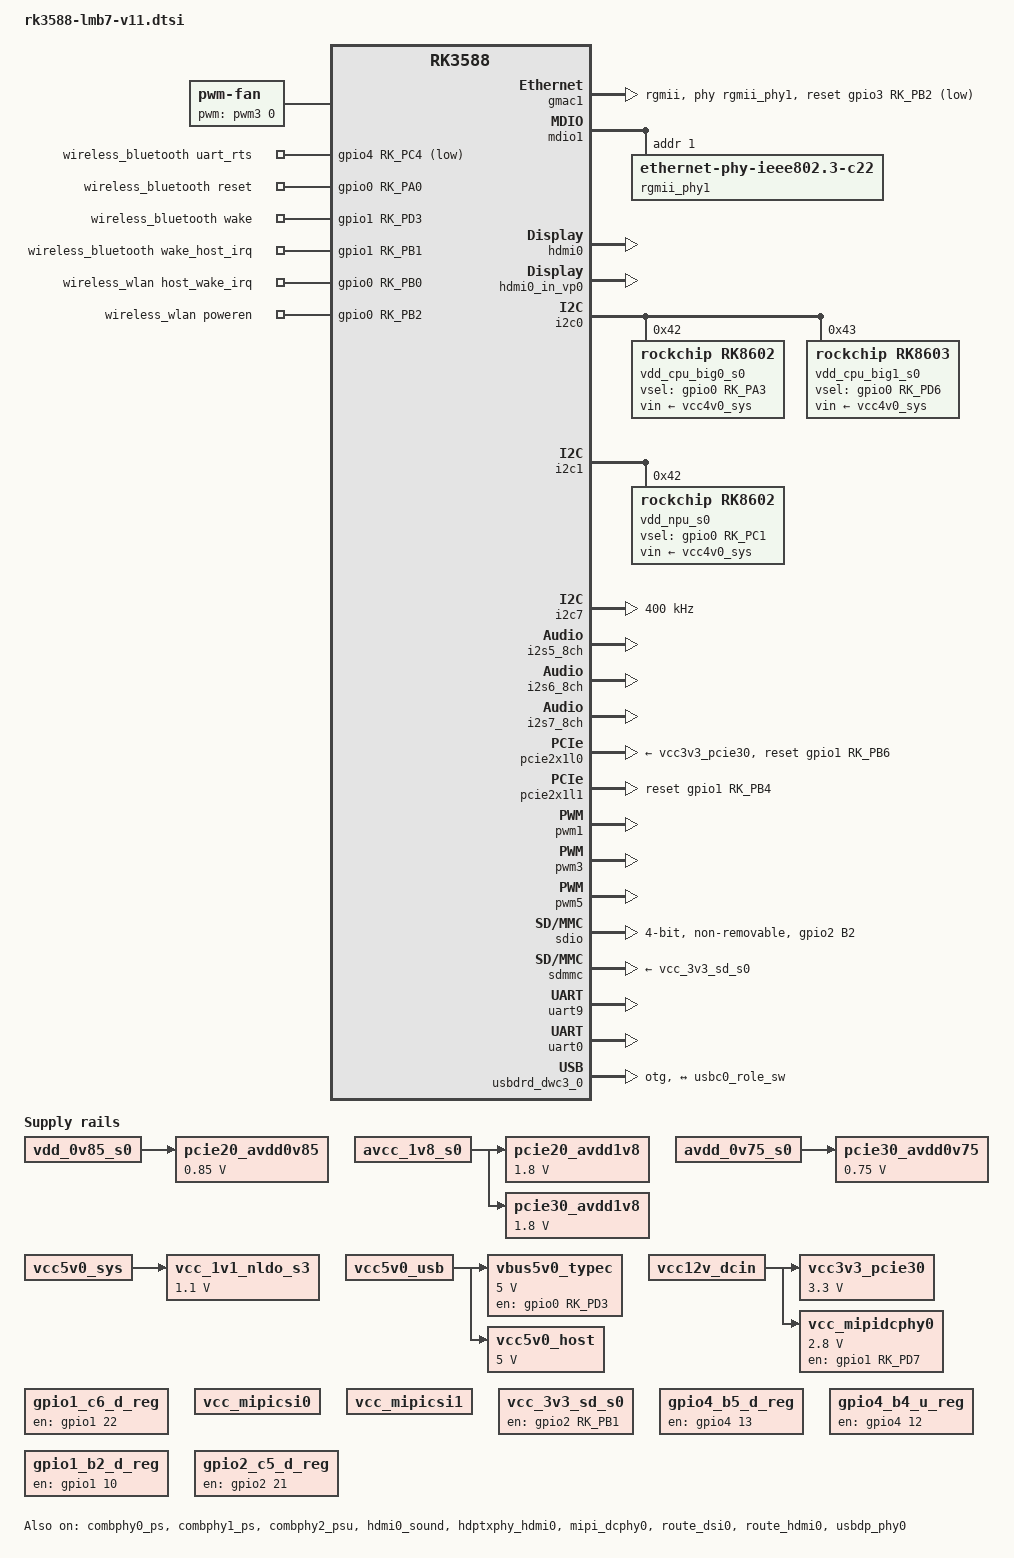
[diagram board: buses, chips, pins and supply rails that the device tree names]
// SPDX-License-Identifier: (GPL-2.0+ OR MIT)
/*
 * Copyright (c) 2022 Rockchip Electronics Co., Ltd.
 *
 */

#include "dt-bindings/usb/pd.h"
#include "rk3588.dtsi"
#include "rk3588-lmb.dtsi"
#include "rk3588-rk806-single.dtsi"

/ {
	/* If hdmirx node is disabled, delete the reserved-memory node here. */
	reserved-memory {
		#address-cells = <2>;
		#size-cells = <2>;
		ranges;

		/* Reserve 256MB memory for hdmirx-controller@fdee0000 */
		cma {
			compatible = "shared-dma-pool";
			reusable;
			reg = <0x0 (256 * 0x100000) 0x0 (256 * 0x100000)>;
			linux,cma-default;
		};
	};

	gpio4_b5_d_out: gpio4-b5-d-out {
        rockchip,pins = <4 13 RK_FUNC_GPIO &pcfg_pull_none>;
    };
    gpio4_b4_u_out: gpio4-b4-u-out {
        rockchip,pins = <4 12 RK_FUNC_GPIO &pcfg_pull_none>;
    };
    gpio1_b2_d_out: gpio1-b2-d-out {
        rockchip,pins = <1 10 RK_FUNC_GPIO &pcfg_pull_none>;
    };
    gpio2_c5_d_out: gpio2-c5-d-out {
        rockchip,pins = <2 21 RK_FUNC_GPIO &pcfg_pull_none>;
    };

//	vcc8367_reset: vcc8367-reset {
//		status = "okay";
//		compatible = "regulator-fixed";
//		regulator-name = "vcc8367_reset";
//		regulator-boot-on;
//		regulator-always-on;
//		regulator-min-microvolt = <3300000>;
//		regulator-max-microvolt = <3300000>;
//		enable-active-high;
//		// gpio = <&gpio4 RK_PD1 GPIO_ACTIVE_HIGH>;
//		gpio = <&gpio4 RK_PA3 GPIO_ACTIVE_HIGH>;
//		vin-supply = <&vcc12v_dcin>;
//		pinctrl-names = "default";
//		pinctrl-0 = <&vcc8367n_reset_en>;
//		regulator-state-mem {
//			regulator-off-in-suspend;
//		};
//	};	

//	gpio2_b2_u_reg: gpio2-b2-u-regulator {
//        compatible = "regulator-fixed";
//        regulator-name = "gpio2_b2_u_3v3";
//        regulator-boot-on;
//        regulator-always-on;
//        enable-active-high;
//        gpio = <&gpio2 10 GPIO_ACTIVE_HIGH>;
//        pinctrl-names = "default";
//        pinctrl-0 = <&gpio2_b2_u_out>;
//    };

	gpio1_c6_d_reg: gpio1-c6-d-regulator {
		compatible = "regulator-fixed";
		regulator-name = "gpio1_c6_d";
		regulator-boot-on;
		regulator-always-on;
		enable-active-high;
		gpio = <&gpio1 22 GPIO_ACTIVE_HIGH>;
		pinctrl-names = "default";
		pinctrl-0 = <&gpio1_c6_d_out>;
	};
/*
	es8388_sound: es8388-sound {
		status = "okay";
		compatible = "rockchip,multicodecs-card";
		rockchip,card-name = "rockchip-es8388";
		//hp-det-gpio = <&gpio0 RK_PC4 GPIO_ACTIVE_LOW>;
		io-channels = <&saradc 3>;
		io-channel-names = "adc-detect";
		keyup-threshold-microvolt = <1800000>;
		poll-interval = <100>;
		//spk-con-gpio = <&gpio4 RK_PA2 GPIO_ACTIVE_HIGH>;
		hp-con-gpio = <&gpio1 RK_PC6 GPIO_ACTIVE_HIGH>;
		rockchip,pre-power-on-delay-ms = <30>;
		rockchip,post-power-down-delay-ms = <40>;
		rockchip,format = "i2s";
		rockchip,mclk-fs = <256>;
		rockchip,cpu = <&i2s0_8ch>;
		rockchip,codec = <&es8388>;
		rockchip,audio-routing =
			"Headphone", "LOUT1",
			"Headphone", "ROUT1",
			"Speaker", "LOUT2",
			"Speaker", "ROUT2",
			"Headphone", "Headphone Power",
			"Headphone", "Headphone Power",
			"Speaker", "Speaker Power",
			"Speaker", "Speaker Power",
			"LINPUT1", "Main Mic",
			"LINPUT2", "Main Mic",
			"RINPUT1", "Headset Mic",
			"RINPUT2", "Headset Mic";
		//pinctrl-names = "default";
		//pinctrl-0 = <&hp_det>;
		play-pause-key {
			label = "playpause";
			linux,code = <KEY_PLAYPAUSE>;
			press-threshold-microvolt = <2000>;
		};
	};
*/
	fan: pwm-fan {
		compatible = "pwm-fan";
		#cooling-cells = <2>;
		pwms = <&pwm3 0 50000 0>;
		cooling-levels = <0 50 100 150 200 255>;
		rockchip,temp-trips = <
			50000	1
			55000	2
			60000	3
			65000	4
			70000	5
		>;
	};

	hdmiin-sound {
		compatible = "rockchip,hdmi";
		rockchip,mclk-fs = <128>;
		rockchip,format = "i2s";
		rockchip,bitclock-master = <&hdmirx_ctrler>;
		rockchip,frame-master = <&hdmirx_ctrler>;
		rockchip,card-name = "rockchip,hdmiin";
		rockchip,cpu = <&i2s7_8ch>;
		rockchip,codec = <&hdmirx_ctrler 0>;
		rockchip,jack-det;
	};

	pcie20_avdd0v85: pcie20-avdd0v85 {
		compatible = "regulator-fixed";
		regulator-name = "pcie20_avdd0v85";
		regulator-boot-on;
		regulator-always-on;
		regulator-min-microvolt = <850000>;
		regulator-max-microvolt = <850000>;
		vin-supply = <&vdd_0v85_s0>;
	};

	pcie20_avdd1v8: pcie20-avdd1v8 {
		compatible = "regulator-fixed";
		regulator-name = "pcie20_avdd1v8";
		regulator-boot-on;
		regulator-always-on;
		regulator-min-microvolt = <1800000>;
		regulator-max-microvolt = <1800000>;
		vin-supply = <&avcc_1v8_s0>;
	};

	pcie30_avdd0v75: pcie30-avdd0v75 {
		compatible = "regulator-fixed";
		regulator-name = "pcie30_avdd0v75";
		regulator-boot-on;
		regulator-always-on;
		regulator-min-microvolt = <750000>;
		regulator-max-microvolt = <750000>;
		vin-supply = <&avdd_0v75_s0>;
	};

	pcie30_avdd1v8: pcie30-avdd1v8 {
		compatible = "regulator-fixed";
		regulator-name = "pcie30_avdd1v8";
		regulator-boot-on;
		regulator-always-on;
		regulator-min-microvolt = <1800000>;
		regulator-max-microvolt = <1800000>;
		vin-supply = <&avcc_1v8_s0>;
	};

	sdio_pwrseq: sdio-pwrseq {
		compatible = "mmc-pwrseq-simple";
		// clocks = <&hym8563>;
		// clock-names = "ext_clock";
		//pinctrl-names = "default";
		//pinctrl-0 = <&wifi_enable_h>;
		/*
		 * On the module itself this is one of these (depending
		 * on the actual card populated):
		 * - SDIO_RESET_L_WL_REG_ON
		 * - PDN (power down when low)
		 */
		post-power-on-delay-ms = <200>;
		//reset-gpios = <&gpio0 RK_PC4 GPIO_ACTIVE_LOW>;
	};

	rk_headset: rk-headset {
		status = "disabled";
		compatible = "rockchip_headset";
		headset_gpio = <&gpio1 RK_PD5 GPIO_ACTIVE_LOW>;
		pinctrl-names = "default";
		pinctrl-0 = <&hp_det>;
		io-channels = <&saradc 3>;
	};


	vcc_1v1_nldo_s3: vcc-1v1-nldo-s3 {
		compatible = "regulator-fixed";
		regulator-name = "vcc_1v1_nldo_s3";
		regulator-always-on;
		regulator-boot-on;
		regulator-min-microvolt = <1100000>;
		regulator-max-microvolt = <1100000>;
		vin-supply = <&vcc5v0_sys>;
	};

	vbus5v0_typec: vbus5v0-typec {
		compatible = "regulator-fixed";
		regulator-name = "vbus5v0_typec";
		regulator-min-microvolt = <5000000>;
		regulator-max-microvolt = <5000000>;
		enable-active-high;
		gpio = <&gpio0 RK_PD3 GPIO_ACTIVE_HIGH>;
		vin-supply = <&vcc5v0_usb>;
		pinctrl-names = "default";
		pinctrl-0 = <&typec5v_pwren>;
	};



	vcc3v3_pcie30: vcc3v3-pcie30 {
		compatible = "regulator-fixed";
		regulator-name = "vcc3v3_pcie30";
		regulator-min-microvolt = <3300000>;
		regulator-max-microvolt = <3300000>;
		enable-active-high;
		//gpios = <&gpio2 RK_PC5 GPIO_ACTIVE_HIGH>;
		pinctrl-names = "default";
		pinctrl-0 = <&wifi_poweren_gpio>;
		startup-delay-us = <5000>;
		vin-supply = <&vcc12v_dcin>;
	};

	vcc5v0_host: vcc5v0-host {
		compatible = "regulator-fixed";
		regulator-name = "vcc5v0_host";
		regulator-boot-on;
		regulator-always-on;
		regulator-min-microvolt = <5000000>;
		regulator-max-microvolt = <5000000>;
		enable-active-high;
		//gpio = <&gpio2 RK_PC1 GPIO_ACTIVE_HIGH>;
		vin-supply = <&vcc5v0_usb>;
		//pinctrl-names = "default";
		//pinctrl-0 = <&vcc5v0_host_en>;
	};

	vcc_mipicsi0: vcc-mipicsi0-regulator {
		compatible = "regulator-fixed";
		//gpio = <&gpio1 RK_PD2 GPIO_ACTIVE_HIGH>;
		//pinctrl-names = "default";
		//pinctrl-0 = <&mipicsi0_pwr>;
		regulator-name = "vcc_mipicsi0";
		enable-active-high;
	};

	vcc_mipicsi1: vcc-mipicsi1-regulator {
		compatible = "regulator-fixed";
		//gpio = <&gpio1 RK_PD3 GPIO_ACTIVE_HIGH>;
		//pinctrl-names = "default";
		//pinctrl-0 = <&mipicsi1_pwr>;
		regulator-name = "vcc_mipicsi1";
		enable-active-high;
	};

	vcc_mipidcphy0: vcc-mipidcphy0-regulator {
		compatible = "regulator-fixed";
		regulator-name = "vcc_mipidcphy0";
		regulator-boot-on;
		regulator-always-on;
		regulator-min-microvolt = <2800000>;
		regulator-max-microvolt = <2800000>;
		enable-active-high;
		gpio = <&gpio1 RK_PD7 GPIO_ACTIVE_HIGH>;
		pinctrl-names = "default";
		pinctrl-0 = <&mipidcphy0_pwr>;
		vin-supply = <&vcc12v_dcin>;
	};

	vcc_3v3_sd_s0: vcc-3v3-sd-s0-regulator {
		compatible = "regulator-fixed";
		// gpio = <&gpio1 RK_PD2 GPIO_ACTIVE_HIGH>;
		// gpio = <&gpio1 RK_PD2 GPIO_ACTIVE_LOW>;
		gpio = <&gpio2 RK_PB1 GPIO_ACTIVE_LOW>;
		pinctrl-names = "default";
		pinctrl-0 = <&sd_s0_pwr>;
		regulator-name = "vcc_3v3_sd_s0";
		enable-active-high;
	};

	wireless_bluetooth: wireless-bluetooth {
		compatible = "bluetooth-platdata";
		// clocks = <&hym8563>;
		// clock-names = "ext_clock";
		uart_rts_gpios = <&gpio4 RK_PC4 GPIO_ACTIVE_LOW>;
		pinctrl-names = "default", "rts_gpio";
		pinctrl-0 = <&uart9m0_rtsn>, <&bt_reset_gpio>, <&bt_wake_gpio>, <&bt_irq_gpio>;
		pinctrl-1 = <&uart9_gpios>;
		BT,reset_gpio    = <&gpio0 RK_PA0 GPIO_ACTIVE_HIGH>;
		BT,wake_gpio     = <&gpio1 RK_PD3 GPIO_ACTIVE_HIGH>;
		BT,wake_host_irq = <&gpio1 RK_PB1 GPIO_ACTIVE_HIGH>;
		status = "okay";
	};

	wireless_wlan: wireless-wlan {
		compatible = "wlan-platdata";
		wifi_chip_type = "ap6354";
		pinctrl-names = "default";
		pinctrl-0 = <&wifi_host_wake_irq>;
		WIFI,host_wake_irq = <&gpio0 RK_PB0 GPIO_ACTIVE_HIGH>;
		WIFI,poweren_gpio = <&gpio0 RK_PB2 GPIO_ACTIVE_HIGH>;
		status = "okay";
	};
	
	gpio4_b5_d_reg: gpio4-b5-d-regulator {
		compatible = "regulator-fixed";
		regulator-name = "gpio4_b5_d";
		regulator-boot-on;
		regulator-always-on;
		enable-active-high;
		gpio = <&gpio4 13 GPIO_ACTIVE_HIGH>;
		pinctrl-names = "default";
		pinctrl-0 = <&gpio4_b5_d_out>;
	};

	gpio4_b4_u_reg: gpio4-b4-u-regulator {
		compatible = "regulator-fixed";
		regulator-name = "gpio4_b4_u";
		regulator-boot-on;
		regulator-always-on;
		enable-active-high;
		gpio = <&gpio4 12 GPIO_ACTIVE_HIGH>;
		pinctrl-names = "default";
		pinctrl-0 = <&gpio4_b4_u_out>;
	};

	gpio1_b2_d_reg: gpio1-b2-d-regulator {
		compatible = "regulator-fixed";
		regulator-name = "gpio1_b2_d";
		regulator-boot-on;
		regulator-always-on;
		enable-active-high;
		gpio = <&gpio1 10 GPIO_ACTIVE_HIGH>;
		pinctrl-names = "default";
		pinctrl-0 = <&gpio1_b2_d_out>;
	};

	gpio2_c5_d_reg: gpio2-c5-d-regulator {
		compatible = "regulator-fixed";
		regulator-name = "gpio2_c5_d";
		regulator-boot-on;
		regulator-always-on;
		enable-active-high;
		gpio = <&gpio2 21 GPIO_ACTIVE_HIGH>;
		pinctrl-names = "default";
		pinctrl-0 = <&gpio2_c5_d_out>;
	};

};

&combphy0_ps {
	status = "okay";
};

&combphy1_ps {
	status = "okay";
};

&combphy2_psu {
	status = "okay";
};

&dp0 {
	status = "disabled";
};
&dp0_in_vp2 {
	status = "disabled";
};

&dp0_sound{
	status = "disabled";
};
&dp1 {
	pinctrl-names = "default";
	pinctrl-0 = <&dp1m0_pins>;
	status = "disabled";
};

&dp1_in_vp2 {
	status = "disabled";
};




&gmac1 {
	/* Use rgmii-rxid mode to disable rx delay inside Soc */
	//phy-mode = "rgmii-rxid";
	phy-mode = "rgmii";
	clock_in_out = "output";

	snps,reset-gpio = <&gpio3 RK_PB2 GPIO_ACTIVE_LOW>;
	snps,reset-active-low;
	/* Reset time is 20ms, 100ms for rtl8211f */
	snps,reset-delays-us = <0 20000 100000>;

	pinctrl-names = "default";
	pinctrl-0 = <&gmac1_miim
		     &gmac1_tx_bus2
		     &gmac1_rx_bus2
		     &gmac1_rgmii_clk
		     &gmac1_rgmii_bus
			 &gmac1_clkinout>;

	tx_delay = <0x3a>;
	rx_delay = <0x2a>;

	phy-handle = <&rgmii_phy1>;
	status = "okay";
};

&mdio1 {
	rgmii_phy1: phy@1 {
		compatible = "ethernet-phy-ieee802.3-c22";
		reg = <0x1>;
	};
};

&hdmi0 {
	enable-gpios = <&gpio3 RK_PC1 GPIO_ACTIVE_HIGH>;
	status = "okay";
};

&hdmi0_in_vp0 {
	status = "okay";
};

&hdmi0_sound {
	status = "okay";
};

&hdmi1 {
	enable-gpios = <&gpio4 RK_PB2 GPIO_ACTIVE_HIGH>;
	status = "disabled";
};

&hdmi1_in_vp1 {
	status = "disabled";
};

&hdmi1_sound {
	status = "disabled";
};

/* Should work with at least 128MB cma reserved above. */
&hdmirx_ctrler {
	status = "disabled";

	#sound-dai-cells = <1>;
	/* Effective level used to trigger HPD: 0-low, 1-high */
	hpd-trigger-level = <1>;
	hdmirx-det-gpios = <&gpio1 RK_PB4 GPIO_ACTIVE_LOW>;
	pinctrl-names = "default";
	pinctrl-0 = <&hdmim1_rx_cec &hdmim2_rx_scl &hdmim2_rx_sda &hdmim0_rx_hpdin &hdmirx_det>;
};

&hdptxphy_hdmi0 {
	status = "okay";
};

&hdptxphy_hdmi1 {
	status = "disabled";
};

&i2c0 {
	status = "okay";
	pinctrl-names = "default";
	pinctrl-0 = <&i2c0m2_xfer>;

	vdd_cpu_big0_s0: vdd_cpu_big0_mem_s0: rk8602@42 {
		compatible = "rockchip,rk8602";
		reg = <0x42>;
		vin-supply = <&vcc4v0_sys>;
		vsel-gpios = <&gpio0 RK_PA3 GPIO_ACTIVE_HIGH>;
		regulator-compatible = "rk860x-reg";
		regulator-name = "vdd_cpu_big0_s0";
		regulator-min-microvolt = <550000>;
		regulator-max-microvolt = <1050000>;
		regulator-ramp-delay = <2300>;
		rockchip,suspend-voltage-selector = <1>;
		regulator-boot-on;
		regulator-always-on;
		regulator-state-mem {
			regulator-off-in-suspend;
		};
	};

	vdd_cpu_big1_s0: vdd_cpu_big1_mem_s0: rk8603@43 {
		compatible = "rockchip,rk8603";
		reg = <0x43>;
		vin-supply = <&vcc4v0_sys>;
		vsel-gpios = <&gpio0 RK_PD6 GPIO_ACTIVE_HIGH>;
		regulator-compatible = "rk860x-reg";
		regulator-name = "vdd_cpu_big1_s0";
		regulator-min-microvolt = <550000>;
		regulator-max-microvolt = <1050000>;
		regulator-ramp-delay = <2300>;
		rockchip,suspend-voltage-selector = <1>;
		regulator-boot-on;
		regulator-always-on;
		regulator-state-mem {
			regulator-off-in-suspend;
		};
	};
};

&i2c1 {
	status = "okay";
	pinctrl-names = "default";
	pinctrl-0 = <&i2c1m2_xfer>;
    // 删除下面这个节点
	// es8388: es8388@11 {
	// 	status = "okay";
	// 	#sound-dai-cells = <0>;
	// 	compatible = "everest,es8388", "everest,es8323";
	// 	reg = <0x11>;
	// 	clocks = <&mclkout_i2s0>;
	// 	clock-names = "mclk";
	// 	assigned-clocks = <&mclkout_i2s0>;
	// 	assigned-clock-rates = <12288000>;
	// 	avdd-supply = <&gpio1_c6_d_reg>;
	// 	pinctrl-names = "default";
	// 	pinctrl-0 = <&i2s0_mclk>;
	// };

	vdd_npu_s0: vdd_npu_mem_s0: rk8602@42 {
		compatible = "rockchip,rk8602";
		reg = <0x42>;
		vin-supply = <&vcc4v0_sys>;
		vsel-gpios = <&gpio0 RK_PC1 GPIO_ACTIVE_HIGH>;
		regulator-compatible = "rk860x-reg";
		regulator-name = "vdd_npu_s0";
		regulator-min-microvolt = <550000>;
		regulator-max-microvolt = <950000>;
		regulator-ramp-delay = <2300>;
		rockchip,suspend-voltage-selector = <1>;
		regulator-boot-on;
		regulator-always-on;
		regulator-state-mem {
			regulator-off-in-suspend;
		};
	};
};

&i2c4 {
	// status = "okay";
	status = "disabled";
	pinctrl-names = "default";
	pinctrl-0 = <&i2c4m1_xfer>;
/*
	hym8563: hym8563@51 {
		status = "okay";
		compatible = "haoyu,hym8563";
		reg = <0x51>;
		#clock-cells = <0>;
		clock-frequency = <32768>;
		clock-output-names = "hym8563";
		//pinctrl-names = "default";
		//pinctrl-0 = <&hym8563_int>;
		//interrupt-parent = <&gpio0>;
		//interrupts = <RK_PB0 IRQ_TYPE_LEVEL_LOW>;
		wakeup-source;
	};	
*/
/*
	cw2017@63 {
		status = "okay";
		compatible = "cellwise,cw2017";
		reg = <0x63>;

		// ���������Ϣ

		cellwise,battery-profile = /bits/ 8
			<0x5A 0x04 0x51 0x00 0xCD 0x00 0x00 0x00
			 0xA0 0xCA 0xD6 0xCC 0xC5 0xCB 0xB1 0x62
			 0x36 0xF2 0xE1 0xD1 0xA3 0x85 0x71 0x5F
			 0x51 0x43 0x33 0x4E 0xC7 0xDC 0x62 0xE7
			 0xD5 0xD2 0xD3 0xD1 0xCF 0xC9 0xCD 0xCA
			 0xBB 0xBF 0xC4 0xA6 0x93 0x87 0x7C 0x6C
			 0x5A 0x58 0x74 0x8E 0xA7 0x87 0x68 0x73
			 0x00 0x00 0x90 0x01 0x00 0x00 0x00 0x00
			 0x00 0x00 0x64 0x00 0x00 0x00 0x00 0x00
			 0x00 0x00 0x00 0x00 0x00 0x00 0x00 0xA7>;

			 
		cellwise,dual-cell;		//˫���
		cellwise,monitor-interval-ms = <5000>;  //�����������ӳٹ������ӳ�ʱ�䣨ms����
		cellwise,alert-level = <5>;		//10	//ָ����soc������ֵ��
		cellwise,design-capacity-amh = <6800>;	//����������

	};
*/

	usbc0: fusb302@22 {
		compatible = "fcs,fusb302";
		reg = <0x22>;
		
		interrupt-parent = <&gpio3>;
		interrupts = <RK_PD4 IRQ_TYPE_LEVEL_LOW>;
		pinctrl-names = "default";
		pinctrl-0 = <&usbc0_int>;
		
		vbus-supply = <&vbus5v0_typec>;
		status = "okay";

		ports {
			#address-cells = <1>;
			#size-cells = <0>;

			port@0 {
				reg = <0>;
				usbc0_role_sw: endpoint@0 {
					remote-endpoint = <&dwc3_0_role_switch>;
				};
			};
		};

		usb_con: connector {
			compatible = "usb-c-connector";
			label = "USB-C";
			data-role = "dual";
			power-role = "dual";
			try-power-role = "sink";
			op-sink-microwatt = <1000000>;
			sink-pdos =
				<PDO_FIXED(5000, 1000, PDO_FIXED_USB_COMM)>;
			source-pdos =
				<PDO_FIXED(5000, 3000, PDO_FIXED_USB_COMM)>;

			altmodes {
				#address-cells = <1>;
				#size-cells = <0>;

				altmode@0 {
					reg = <0>;
					svid = <0xff01>;
					vdo = <0xffffffff>;
				};
			};

			ports {
				#address-cells = <1>;
				#size-cells = <0>;

				port@0 {
					reg = <0>;
					usbc0_orien_sw: endpoint {
						remote-endpoint = <&usbdp_phy0_orientation_switch>;
					};
				};

				port@1 {
					reg = <1>;
					dp_altmode_mux: endpoint {
						remote-endpoint = <&usbdp_phy0_dp_altmode_mux>;
					};
				};
			};
		};
	};


};

&i2c7 {
	status = "okay";
	clock-frequency = <400000>;
	pinctrl-names = "default";
	pinctrl-0 = <&i2c7m0_xfer>;
	

};

&i2s5_8ch {
	status = "okay";
};

&i2s6_8ch {
	status = "okay";
};

&i2s7_8ch {
	status = "okay";
};



&mipi_dcphy0 {
	status = "okay";
};

&mipi_dcphy1 {
	status = "disabled";
};

&pcie2x1l0 {
	reset-gpios = <&gpio1 RK_PB6 GPIO_ACTIVE_HIGH>;
	rockchip,skip-scan-in-resume;
	//rockchip,perst-inactive-ms = <500>;
	vpcie3v3-supply = <&vcc3v3_pcie30>;
	status = "okay";
};

&pcie2x1l1 {
	reset-gpios = <&gpio1 RK_PB4 GPIO_ACTIVE_HIGH>;
	status = "okay";
};

&pcie30phy {
	rockchip,pcie30-phymode = <PHY_MODE_PCIE_AGGREGATION>;
	status = "disabled";
};

&pcie3x4 {
	reset-gpios = <&gpio4 RK_PB6 GPIO_ACTIVE_HIGH>;
	vpcie3v3-supply = <&vcc3v3_pcie30>;
	pinctrl-names = "default";
	pinctrl-0 = <&pcie20x1_0_clkreqn_m1>;
	status = "disabled";
};

&pinctrl {
    custom_gpio_cfg {
		gpio1_c6_d_out: gpio1-c6-d-out {
			rockchip,pins = <1 22 RK_FUNC_GPIO &pcfg_pull_none>;
		};
//		gpio2_b2_u_out: gpio2-b2-u-out {
//            rockchip,pins = <2 10 RK_FUNC_GPIO &pcfg_pull_none>;
//       };
    };

//	rtl8367n {
//		vcc8367n_reset_en: vcc8367n-reset-en {
//			// rockchip,pins = <4 RK_PD1 RK_FUNC_GPIO &pcfg_pull_none>;
//			rockchip,pins = <4 RK_PA3 RK_FUNC_GPIO &pcfg_pull_none>;
//		};
//	};

	cam {
#if 0
		mipicsi0_pwr: mipicsi0-pwr {
			rockchip,pins =
				/* camera power en */
				<1 RK_PD2 RK_FUNC_GPIO &pcfg_pull_none>;
		};
#endif
#if 0
		mipicsi1_pwr: mipicsi1-pwr {
			rockchip,pins =
				/* camera power en */
				<1 RK_PD3 RK_FUNC_GPIO &pcfg_pull_none>;
		};
#endif
		mipidcphy0_pwr: mipidcphy0-pwr {
			rockchip,pins =
				/* camera power en */
				<1 RK_PD7 RK_FUNC_GPIO &pcfg_pull_none>;
		};
	};


	hdmi {
		hdmirx_det: hdmirx-det {
			rockchip,pins = <1 RK_PB4 RK_FUNC_GPIO &pcfg_pull_up>;
		};
	};

	headphone {
		hp_det: hp-det {
			rockchip,pins = <0 RK_PC4 RK_FUNC_GPIO &pcfg_pull_none>;
		};
	};
#if 0
	hym8563 {
		hym8563_int: hym8563-int {
			rockchip,pins = <0 RK_PB0 RK_FUNC_GPIO &pcfg_pull_up>;
		};
	};
#endif
#if 0
	leds {
		work_leds_gpio: work-leds-gpio {
			rockchip,pins = <1 RK_PC6 RK_FUNC_GPIO &pcfg_pull_down>;
		};
	};
#endif
#if 0
	sdio-pwrseq {
		wifi_enable_h: wifi-enable-h {
			rockchip,pins = <0 RK_PC4 RK_FUNC_GPIO &pcfg_pull_up>;
		};
	};
#endif
	sdmmc {
		sd_s0_pwr: sd-s0-pwr {
			/* rockchip,pins = <1 RK_PD2 RK_FUNC_GPIO &pcfg_pull_up>; */
			/* rockchip,pins = <1 RK_PD2 RK_FUNC_GPIO &pcfg_pull_down>;  */
			rockchip,pins = <2 RK_PB1 RK_FUNC_GPIO &pcfg_pull_down>;
		};
	};
#if 0
	usb {
		vcc5v0_host_en: vcc5v0-host-en {
			rockchip,pins = <2 RK_PC1 RK_FUNC_GPIO &pcfg_pull_none>;
		};
	};
#endif
	

	usb-typec {
		usbc0_int: usbc0-int {
			rockchip,pins = <3 RK_PD4 RK_FUNC_GPIO &pcfg_pull_up>;
		};
		typec5v_pwren: typec5v-pwren {
			rockchip,pins = <0 RK_PD3 RK_FUNC_GPIO &pcfg_pull_none>;
		};
	};

	wireless-bluetooth {
		uart9_gpios: uart9-gpios {
			rockchip,pins = <4 RK_PC4 RK_FUNC_GPIO &pcfg_pull_none>;
		};

		bt_reset_gpio: bt-reset-gpio {
			rockchip,pins = <0 RK_PA0 RK_FUNC_GPIO &pcfg_pull_none>;
		};

		bt_wake_gpio: bt-wake-gpio {
			rockchip,pins = <1 RK_PD3 RK_FUNC_GPIO &pcfg_pull_none>;
		};

		bt_irq_gpio: bt-irq-gpio {
			rockchip,pins = <1 RK_PB1 RK_FUNC_GPIO &pcfg_pull_none>;
		};
	};

	wireless-wlan {
		wifi_host_wake_irq: wifi-host-wake-irq {
			rockchip,pins = <0 RK_PB0 RK_FUNC_GPIO &pcfg_pull_down>;
		};
		wifi_poweren_gpio: wifi-poweren-gpio {
			rockchip,pins = <0 RK_PB2 RK_FUNC_GPIO &pcfg_pull_up>;
		};
		sdiom0_pins: sdiom0-pins {
			rockchip,pins = <
				2 RK_PB2 2 &pcfg_pull_up   // SDIO_CMD_M0_WIFI
				2 RK_PB3 2 &pcfg_pull_up   // SDIO_CLK_M0_WIFI
				2 RK_PB1 2 &pcfg_pull_up   // SDIO_D3_M0_WIFI
				2 RK_PB0 2 &pcfg_pull_up   // SDIO_D2_M0_WIFI
				2 RK_PA7 2 &pcfg_pull_up   // SDIO_D1_M0_WIFI
				2 RK_PA6 2 &pcfg_pull_up   // SDIO_D0_M0_WIFI
			>;
		};
	};

	pcie {
		pcie20x1_0_clkreqn_m1: pcie20x1-0-clkreqn-m1 {
			rockchip,pins = <4 RK_PB4 RK_FUNC_GPIO &pcfg_output_low>;
		};
	};
};

&pwm1 {
	status = "okay";
	pinctrl-0 = <&pwm1m0_pins>;
};

&pwm3 {
	pinctrl-0 = <&pwm3m1_pins>;
	status = "okay";
};


&pwm5 {
	pinctrl-0 = <&pwm5m1_pins>;
	status = "okay";
};
&route_dsi0 {
	status = "okay";
	connect = <&vp3_out_dsi0>;
};

&route_dsi1 {
	status = "disabled";
	connect = <&vp3_out_dsi1>;
};

&route_hdmi0 {
	status = "okay";
};

&route_hdmi1 {
	status = "disabled";
};

&sata0 {
	status = "disabled";
};

&sdio {
	max-frequency = <150000000>;
	no-sd;
	no-mmc;
	bus-width = <4>;
	disable-wp;
	cap-sd-highspeed;
	cap-sdio-irq;
	keep-power-in-suspend;
	mmc-pwrseq = <&sdio_pwrseq>;
	non-removable;
	pinctrl-names = "default";
	pinctrl-0 = <&sdiom0_pins>;
	sd-uhs-sdr104;
	status = "okay";
};

&sdmmc {
	status = "okay";
	vmmc-supply = <&vcc_3v3_sd_s0>;
};

&uart9 {
	status = "okay";
	pinctrl-names = "default";
	pinctrl-0 = <&uart9m0_xfer &uart9m0_ctsn>;
};

&uart0 {
	status = "okay";
	pinctrl-names = "default";
	pinctrl-0 = <&uart0m2_xfer>;
};

&u2phy0_otg {
	rockchip,typec-vbus-det;
};

&u2phy1_otg {
	phy-supply = <&vcc5v0_host>;
};

&u2phy2_host {
	phy-supply = <&vcc5v0_host>;
};

&u2phy3_host {
	phy-supply = <&vcc5v0_host>;
};

&usbdp_phy0 {
	status = "okay";

	orientation-switch;
	svid = <0xff01>;
	//sbu1-dc-gpios = <&gpio3 RK_PD4 GPIO_ACTIVE_HIGH>;
	//sbu2-dc-gpios = <&gpio3 RK_PD5 GPIO_ACTIVE_HIGH>;

	port {
		#address-cells = <1>;
		#size-cells = <0>;
		usbdp_phy0_orientation_switch: endpoint@0 {
			reg = <0>;
			remote-endpoint = <&usbc0_orien_sw>;
		};

		usbdp_phy0_dp_altmode_mux: endpoint@1 {
			reg = <1>;
			remote-endpoint = <&dp_altmode_mux>;
		};
	};
};

&usbdp_phy1 {
	rockchip,dp-lane-mux = <0 1 2 3>;
};


&usbdrd_dwc3_0 {
	status = "okay";
	extcon = <&u2phy0>;
	dr_mode = "otg";
	usb-role-switch;
	port {
		#address-cells = <1>;
		#size-cells = <0>;
		dwc3_0_role_switch: endpoint@0 {
			reg = <0>;
			remote-endpoint = <&usbc0_role_sw>;
		};
	};
};

&usbhost3_0 {
	status = "disabled";
};

&usbhost_dwc3_0 {
	status = "disabled";
};
#if 0
&work_led {
	gpios = <&gpio1 RK_PC6 GPIO_ACTIVE_HIGH>;
	pinctrl-names = "default";
	pinctrl-0 = <&work_leds_gpio>;
};
#endif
